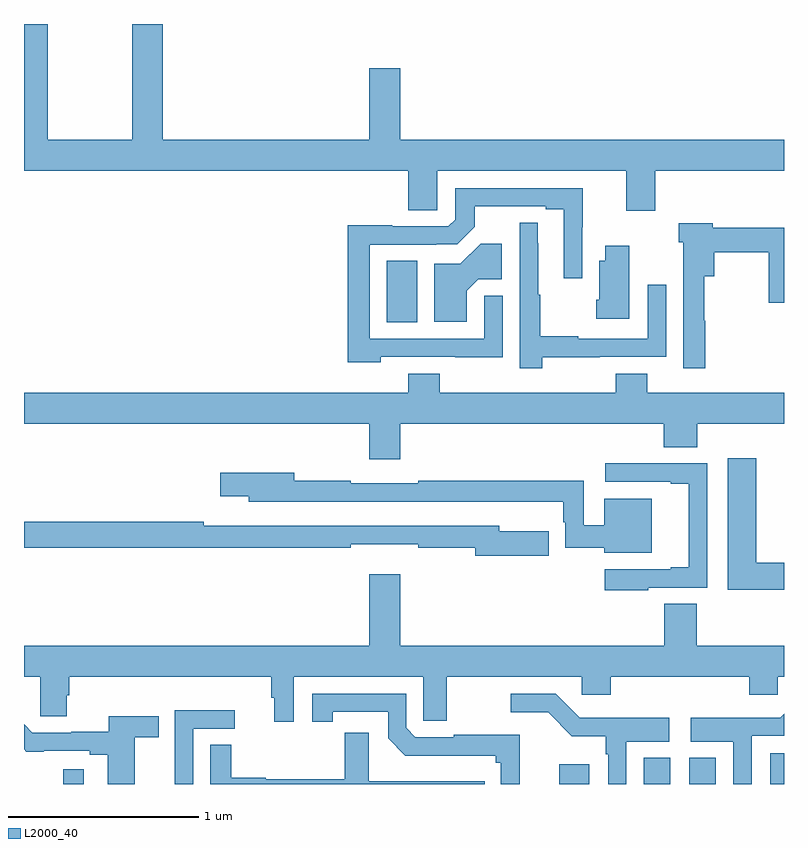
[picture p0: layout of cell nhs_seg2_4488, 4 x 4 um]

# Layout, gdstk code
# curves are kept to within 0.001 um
import gdstk
lib = gdstk.Library(unit=1e-6, precision=1e-09)
def R(c, l, rs):  # rectangles x0, y0, x1, y1
    for r in rs: c.add(gdstk.rectangle(r[:2], r[2:], *l))
def P(c, l, *ps):  # polygons
    for p in ps: c.add(gdstk.Polygon(p, *l))
L2000_40 = (2000, 40)

nhs_seg2_4488 = lib.new_cell('nhs_seg2_4488')
R(nhs_seg2_4488, L2000_40, [(355.206,585.8,355.314,585.877), (357.818,585.8,357.976,585.904), (358.262,585.8,358.402,585.937), (358.502,585.8,358.642,585.937), (358.928,585.8,359,585.961), (356.909,588.229,357.07,588.554)])
P(nhs_seg2_4488, L2000_40, [(356.98,589.567),(356.816,589.567),(356.816,589.192),(355.73,589.192),(355.73,589.8),(355.57,589.8),(355.57,589.192),(355.125,589.192),(355.125,589.8),(355,589.8),(355,589.028),(357.023,589.028),(357.023,588.82),(357.174,588.82),(357.174,589.028),(358.169,589.028),(358.169,588.816),(358.322,588.816),(358.322,589.028),(359,589.028),(359,589.192),(356.98,589.192)],
  [(356.877,588.048),(357.519,588.047),(357.519,588.369),(357.423,588.369),(357.423,588.144),(356.82,588.144),(356.82,588.639),(357.28,588.64),(357.373,588.733),(357.373,588.84),(357.746,588.84),(357.746,588.825),(357.842,588.825),(357.842,588.462),(357.939,588.462),(357.939,588.73),(357.942,588.73),(357.942,588.936),(357.27,588.936),(357.27,588.771),(357.234,588.735),(356.939,588.735),(356.939,588.74),(356.703,588.74),(356.704,588.02),(356.877,588.02)],
  [(357.727,588.047),(358.031,588.047),(358.031,588.048),(358.38,588.048),(358.38,588.427),(358.284,588.427),(358.284,588.144),(357.917,588.144),(357.917,588.157),(357.718,588.157),(357.718,588.374),(357.706,588.374),(357.706,588.647),(357.705,588.647),(357.705,588.755),(357.609,588.755),(357.609,587.988),(357.727,587.988)],
  [(358.586,588.239),(358.579,588.239),(358.579,588.473),(358.632,588.473),(358.632,588.598),(358.921,588.598),(358.921,588.333),(359,588.333),(359,588.727),(358.624,588.727),(358.624,588.752),(358.445,588.752),(358.445,588.651),(358.47,588.651),(358.47,587.988),(358.586,587.988)],
  [(357.331,588.397),(357.39,588.456),(357.514,588.456),(357.514,588.643),(357.403,588.643),(357.297,588.537),(357.158,588.537),(357.158,588.233),(357.331,588.233)],
  [(358.186,588.634),(358.058,588.634),(358.058,588.553),(358.028,588.553),(358.028,588.348),(358.013,588.348),(358.013,588.248),(358.186,588.248)],
  [(356.98,587.696),(358.367,587.696),(358.367,587.572),(358.544,587.572),(358.544,587.696),(359,587.696),(359,587.86),(358.28,587.86),(358.28,587.959),(358.115,587.959),(358.115,587.86),(357.188,587.86),(357.188,587.959),(357.023,587.959),(357.023,587.86),(355,587.86),(355,587.696),(356.816,587.696),(356.816,587.508),(356.98,587.508)],
  [(359,586.964),(358.854,586.964),(358.854,587.515),(358.703,587.515),(358.703,586.822),(359,586.822)],
  [(358.286,586.833),(358.596,586.833),(358.596,587.487),(358.283,587.487),(358.283,587.489),(358.059,587.489),(358.059,587.391),(358.403,587.391),(358.403,587.379),(358.499,587.379),(358.499,586.942),(358.403,586.942),(358.403,586.929),(358.056,586.929),(358.056,586.821),(358.286,586.821)],
  [(358.303,587.302),(358.055,587.302),(358.055,587.163),(357.945,587.163),(357.945,587.395),(357.076,587.395),(357.076,587.382),(356.72,587.382),(356.72,587.395),(356.422,587.395),(356.422,587.437),(356.034,587.437),(356.034,587.315),(356.183,587.315),(356.183,587.286),(357.598,587.286),(357.598,587.285),(357.837,587.285),(357.837,587.178),(357.849,587.178),(357.849,587.044),(358.055,587.044),(358.055,587.018),(358.303,587.018)],
  [(357.763,587.131),(357.502,587.131),(357.502,587.16),(355.946,587.16),(355.946,587.18),(355,587.18),(355,587.044),(356.72,587.044),(356.72,587.063),(357.076,587.063),(357.076,587.044),(357.374,587.044),(357.374,587.002),(357.763,587.002)],
  [(356.419,586.364),(357.102,586.364),(357.102,586.132),(357.225,586.132),(357.225,586.364),(357.936,586.364),(357.936,586.271),(358.088,586.271),(358.088,586.364),(358.817,586.364),(358.817,586.271),(358.968,586.271),(358.968,586.364),(359,586.364),(359,586.528),(358.541,586.528),(358.541,586.748),(358.37,586.748),(358.37,586.528),(356.98,586.528),(356.98,586.903),(356.816,586.903),(356.816,586.528),(355,586.528),(355,586.364),(355.086,586.364),(355.086,586.156),(355.225,586.156),(355.225,586.266),(355.238,586.266),(355.238,586.364),(356.301,586.364),(356.301,586.254),(356.318,586.254),(356.318,586.128),(356.419,586.128)],
  [(357.608,586.06),(357.263,586.06),(357.263,586.047),(357.06,586.047),(357.012,586.095),(357.012,586.275),(356.517,586.275),(356.517,586.128),(356.626,586.128),(356.626,586.179),(356.916,586.179),(356.916,586.041),(357.007,585.95),(357.482,585.95),(357.482,585.912),(357.51,585.912),(357.51,585.8),(357.608,585.8)],
  [(358.17,586.022),(358.396,586.022),(358.396,586.15),(357.925,586.149),(357.799,586.275),(357.561,586.275),(357.561,586.178),(357.758,586.178),(357.884,586.052),(358.062,586.052),(358.062,585.956),(358.074,585.956),(358.074,585.8),(358.17,585.8)],
  [(355.89,586.092),(356.11,586.092),(356.11,586.189),(355.794,586.189),(355.794,585.959),(355.793,585.959),(355.793,585.8),(355.89,585.8)],
  [(358.83,586.053),(359,586.053),(359,586.17),(358.979,586.149),(358.737,586.149),(358.737,586.15),(358.509,586.15),(358.509,586.022),(358.734,586.022),(358.734,585.8),(358.83,585.8)],
  [(355.582,586.045),(355.709,586.045),(355.709,586.156),(355.445,586.156),(355.445,586.076),(355.248,586.076),(355.248,586.071),(355.044,586.071),(355,586.115),(355,585.983),(355.013,585.97),(355.105,585.97),(355.105,585.975),(355.346,585.975),(355.346,585.955),(355.442,585.955),(355.442,585.8),(355.582,585.8)],
  [(357.425,585.814),(356.815,585.814),(356.815,586.069),(356.687,586.069),(356.687,585.826),(356.273,585.826),(356.273,585.833),(356.092,585.833),(356.092,586.007),(355.98,586.007),(355.98,585.8),(357.425,585.8)])

lib.write_gds('nhs_seg2_4488.gds')
